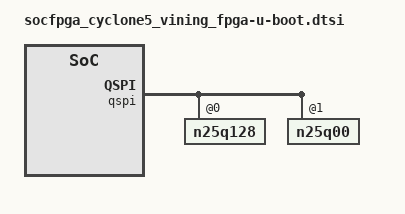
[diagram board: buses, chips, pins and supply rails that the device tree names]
// SPDX-License-Identifier: (GPL-2.0+ OR X11)
/*
 * U-Boot additions
 *
 * Copyright (C) 2015 Marek Vasut <marex@denx.de>
 * Copyright (c) 2018 Simon Goldschmidt
 */

#include "socfpga-common-u-boot.dtsi"

/{
	aliases {
		spi0 = "/soc/spi@ff705000";
		udc0 = &usb0;
	};
};

&watchdog0 {
	status = "disabled";
};

&mmc {
	u-boot,dm-pre-reloc;
};

&qspi {
	u-boot,dm-pre-reloc;

	n25q128@0 {
		compatible = "n25q128", "jedec,spi-nor";
		u-boot,dm-pre-reloc;
	};
	n25q00@1 {
		compatible = "n25q00", "jedec,spi-nor";
		u-boot,dm-pre-reloc;
	};
};

&uart0 {
	clock-frequency = <100000000>;
	u-boot,dm-pre-reloc;
};

&uart1 {
	clock-frequency = <100000000>;
};

&porta {
	bank-name = "porta";
};

&portb {
	bank-name = "portb";
};

&portc {
	bank-name = "portc";
};
